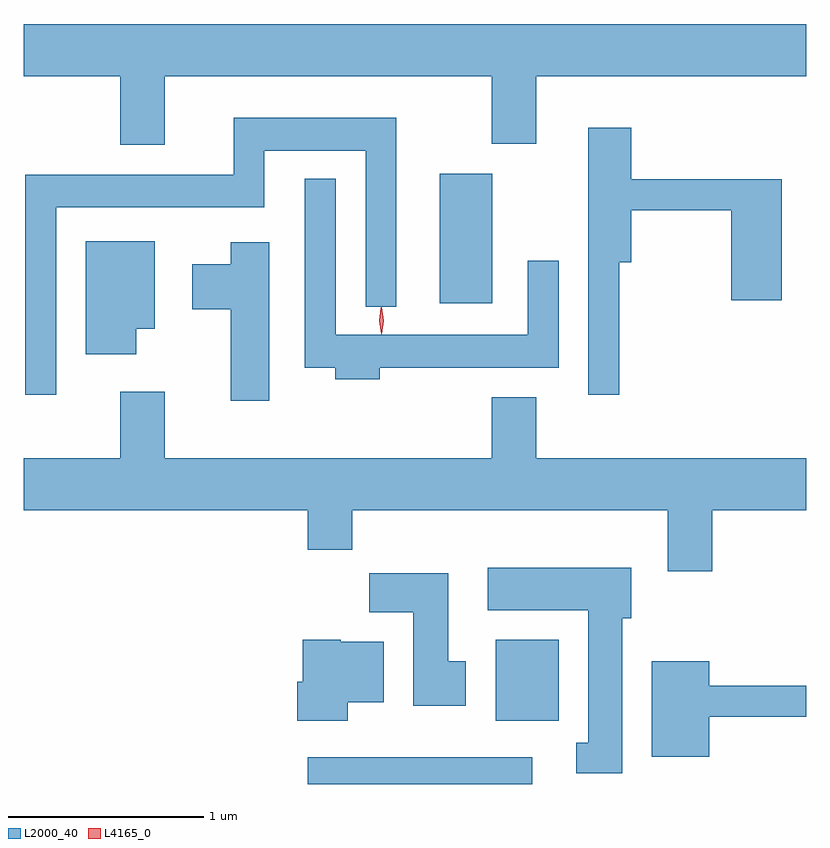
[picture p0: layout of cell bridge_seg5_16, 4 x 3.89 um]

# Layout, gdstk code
import gdstk
lib = gdstk.Library(unit=1e-6, precision=1e-09)
def R(c, l, rs):  # rectangles x0, y0, x1, y1
    for r in rs: c.add(gdstk.rectangle(r[:2], r[2:], *l))
def P(c, l, *ps):  # polygons
    for p in ps: c.add(gdstk.Polygon(p, *l))
L2000_40 = (2000, 40)
L4165_0 = (4165, 0)

bridge_seg5_16 = lib.new_cell('bridge_seg5_16')
R(bridge_seg5_16, L2000_40, [(1245.771,1475.377,1246.919,1475.514), (1246.731,1475.701,1247.054,1476.114), (1246.446,1477.836,1246.714,1478.499)])
P(bridge_seg5_16, L2000_40, [(1245.039,1478.996),(1246.711,1478.996),(1246.711,1478.651),(1246.939,1478.651),(1246.939,1478.996),(1248.319,1478.996),(1248.319,1479.264),(1244.319,1479.264),(1244.319,1478.996),(1244.811,1478.996),(1244.811,1478.646),(1245.039,1478.646)],
  [(1244.484,1478.326),(1245.549,1478.326),(1245.549,1478.616),(1246.066,1478.616),(1246.066,1477.818),(1246.224,1477.818),(1246.224,1478.784),(1245.391,1478.784),(1245.391,1478.494),(1244.326,1478.494),(1244.326,1477.368),(1244.484,1477.368)],
  [(1247.364,1478.046),(1247.424,1478.046),(1247.424,1478.311),(1247.936,1478.311),(1247.936,1477.851),(1248.194,1477.851),(1248.194,1478.469),(1247.424,1478.469),(1247.424,1478.734),(1247.206,1478.734),(1247.206,1477.368),(1247.364,1477.368)],
  [(1246.139,1477.506),(1247.054,1477.506),(1247.054,1478.053),(1246.896,1478.053),(1246.896,1477.674),(1245.914,1477.674),(1245.914,1478.473),(1245.756,1478.473),(1245.756,1477.506),(1245.911,1477.506),(1245.911,1477.446),(1246.139,1477.446)],
  [(1244.894,1477.706),(1244.989,1477.706),(1244.989,1478.154),(1244.636,1478.154),(1244.636,1477.576),(1244.894,1477.576)],
  [(1245.574,1478.149),(1245.376,1478.149),(1245.376,1478.034),(1245.181,1478.034),(1245.181,1477.806),(1245.376,1477.806),(1245.376,1477.336),(1245.574,1477.336)],
  [(1247.839,1476.776),(1248.319,1476.776),(1248.319,1477.044),(1246.939,1477.044),(1246.939,1477.354),(1246.711,1477.354),(1246.711,1477.044),(1245.039,1477.044),(1245.039,1477.384),(1244.811,1477.384),(1244.811,1477.044),(1244.319,1477.044),(1244.319,1476.776),(1245.771,1476.776),(1245.771,1476.576),(1245.999,1476.576),(1245.999,1476.776),(1247.611,1476.776),(1247.611,1476.466),(1247.839,1476.466)],
  [(1247.379,1476.226),(1247.424,1476.226),(1247.424,1476.484),(1246.691,1476.484),(1246.691,1476.266),(1247.206,1476.266),(1247.206,1475.589),(1247.143,1475.589),(1247.143,1475.431),(1247.379,1475.431)],
  [(1246.579,1476.004),(1246.489,1476.004),(1246.489,1476.454),(1246.086,1476.454),(1246.086,1476.256),(1246.311,1476.256),(1246.311,1475.776),(1246.579,1475.776)],
  [(1245.974,1475.796),(1246.159,1475.796),(1246.159,1476.104),(1245.94,1476.104),(1245.94,1476.114),(1245.746,1476.114),(1245.746,1475.899),(1245.716,1475.899),(1245.716,1475.701),(1245.974,1475.701)],
  [(1247.824,1475.721),(1248.319,1475.721),(1248.319,1475.879),(1247.824,1475.879),(1247.824,1476.004),(1247.531,1476.004),(1247.531,1475.516),(1247.824,1475.516)])
P(bridge_seg5_16, L4165_0, [(1246.148,1477.677),(1246.148,1477.677),(1246.138,1477.747),(1246.148,1477.816),(1246.148,1477.816),(1246.148,1477.816),(1246.158,1477.747),(1246.148,1477.677)],
  [(1246.146,1477.679),(1246.146,1477.68),(1246.136,1477.746),(1246.145,1477.812),(1246.146,1477.813),(1246.146,1477.812),(1246.156,1477.746),(1246.146,1477.68)])

lib.write_gds('bridge_seg5_16.gds')
